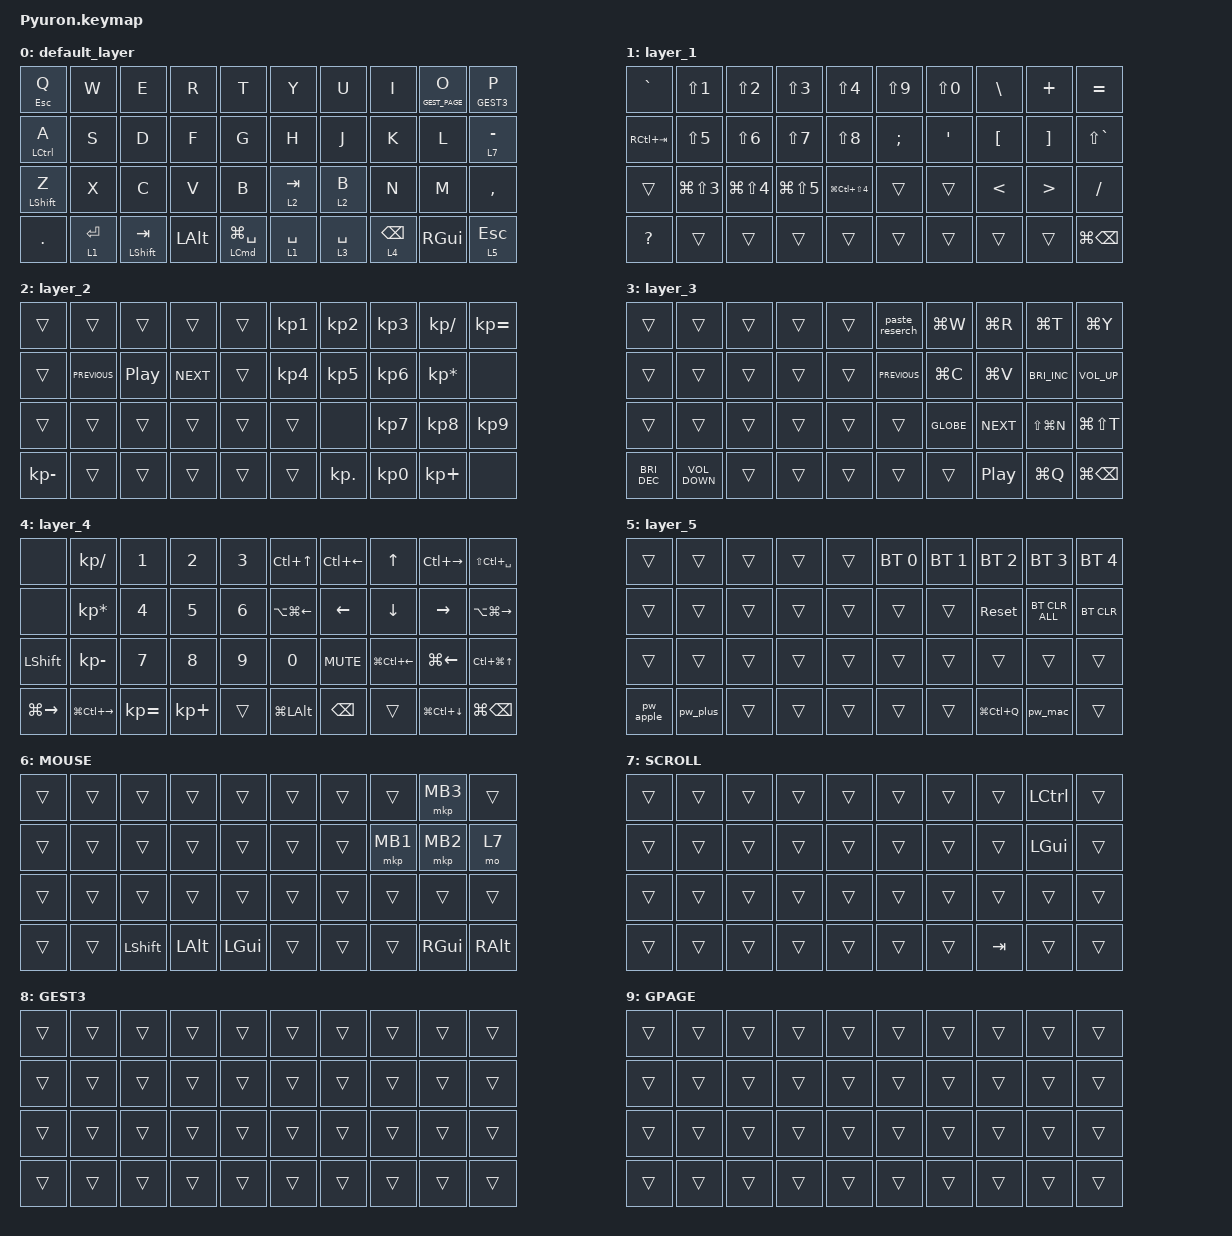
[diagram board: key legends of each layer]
#include <behaviors.dtsi>
#include <dt-bindings/zmk/bt.h>
#include <dt-bindings/zmk/keys.h>
#include <dt-bindings/zmk/pointing.h>

#define MOUSE 6
#define SCROLL 7
#define GEST3 8
#define GEST_PAGE 9

&mt {
    flavor = "balanced";
    quick-tap-ms = <0>;
};

/ {
    combos {
        compatible = "zmk,combos";

        tab {
            bindings = <&kp TAB>;
            key-positions = <9 8>;
        };

        lang1 {
            bindings = <&kp LANGUAGE_1>;
            key-positions = <17 16>;
        };

        lang2 {
            bindings = <&kp LANGUAGE_2>;
            key-positions = <12 13>;
        };
    };

    macros {
        paste_reserch: paste_reserch {
            compatible = "zmk,behavior-macro";
            #binding-cells = <0>;
            bindings =
                <&kp LG(C)>,
                <&macro_wait_time 200>,
                <&kp LG(T)>,
                <&macro_wait_time 200>,
                <&kp LG(V)>,
                <&macro_wait_time 200>,
                <&kp ENTER>,
                <&macro_press>;

            label = "PASTE_RESERCH";
        };

        // Test fixture only — placeholder macros (no real secrets).
        pw_mac: pw_mac {
            compatible = "zmk,behavior-macro";
            #binding-cells = <0>;
            bindings = <&kp C &kp H &kp A &kp N &kp G &kp E &kp M &kp E>;
            label = "PW_MAC";
        };

        pw_plus: pw_plus {
            compatible = "zmk,behavior-macro";
            #binding-cells = <0>;
            bindings = <&kp C &kp H &kp A &kp N &kp G &kp E &kp M &kp E>;
            label = "PW_PLUS";
        };

        pw_apple: pw_apple {
            compatible = "zmk,behavior-macro";
            #binding-cells = <0>;
            bindings = <&kp C &kp H &kp A &kp N &kp G &kp E &kp M &kp E>;
            label = "PW_APPLE";
        };
    };
};

/ {
    keymap {
        compatible = "zmk,keymap";

        default_layer {
            bindings = <
&mt ESC Q           &kp W        &kp E               &kp R         &kp T                       &kp Y        &kp U        &kp I            &lt GEST_PAGE O  &lt GEST3 P
&mt LEFT_CONTROL A  &kp S        &kp D               &kp F         &kp G                       &kp H        &kp J        &kp K            &kp L          &lt 7 MINUS
&mt LEFT_SHIFT Z    &kp X        &kp C               &kp V         &kp B                       &lt 2 TAB    &lt 2 B      &kp N            &kp M          &kp COMMA
&kp PERIOD          &lt 1 ENTER  &mt LEFT_SHIFT TAB  &kp LEFT_ALT  &mt LEFT_COMMAND LG(SPACE)  &lt 1 SPACE  &lt 3 SPACE  &lt 4 BACKSPACE  &kp RIGHT_GUI  &lt 5 ESCAPE
            >;
        };

        layer_1 {
            bindings = <
&kp GRAVE     &kp LS(NUMBER_1)      &kp LS(NUMBER_2)      &kp LS(NUMBER_3)  &kp LS(NUMBER_4)          &kp LS(N9)     &kp LS(N0)  &kp BACKSLASH     &kp PLUS           &kp EQUAL
&kp RC(TAB)   &kp LS(N5)            &kp LS(NUMBER_6)      &kp LS(N7)        &kp LS(N8)                &kp SEMICOLON  &kp SQT     &kp LEFT_BRACKET  &kp RIGHT_BRACKET  &kp LS(GRAVE)
&trans        &kp LG(LS(NUMBER_3))  &kp LG(LS(NUMBER_4))  &kp LG(LS(N5))    &kp LG(LC(LS(NUMBER_4)))  &trans         &trans      &kp LESS_THAN     &kp GREATER_THAN   &kp SLASH
&kp QUESTION  &trans                &trans                &trans            &trans                    &trans         &trans      &trans            &trans             &kp LG(BACKSPACE)
            >;
        };

        layer_2 {
            bindings = <
&trans        &trans          &trans            &trans      &trans  &kp KP_NUMBER_1  &kp KP_NUMBER_2  &kp KP_NUMBER_3  &kp KP_SLASH     &kp KP_EQUAL
&trans        &kp C_PREVIOUS  &kp C_PLAY_PAUSE  &kp C_NEXT  &trans  &kp KP_NUMBER_4  &kp KP_NUMBER_5  &kp KP_NUMBER_6  &kp KP_ASTERISK  &none
&trans        &trans          &trans            &trans      &trans  &trans           &none            &kp KP_NUMBER_7  &kp KP_NUMBER_8  &kp KP_NUMBER_9
&kp KP_MINUS  &trans          &trans            &trans      &trans  &trans           &kp KP_DOT       &kp KP_NUMBER_0  &kp KP_PLUS      &none
            >;
        };

        layer_3 {
            bindings = <
&trans                &trans             &trans  &trans  &trans  &paste_reserch  &kp LG(W)  &kp LG(R)   &kp LG(T)             &kp LG(Y)
&trans                &trans             &trans  &trans  &trans  &kp C_PREVIOUS  &kp LG(C)  &kp LG(V)   &kp C_BRIGHTNESS_INC  &kp C_VOLUME_UP
&trans                &trans             &trans  &trans  &trans  &trans          &kp GLOBE  &kp C_NEXT  &kp LS(LG(N))         &kp LG(LS(T))
&kp C_BRIGHTNESS_DEC  &kp C_VOLUME_DOWN  &trans  &trans  &trans  &trans          &trans     &kp C_PP    &kp LG(Q)             &kp LG(BACKSPACE)
            >;
        };

        layer_4 {
            bindings = <
&none                &kp KP_SLASH             &kp NUMBER_1  &kp NUMBER_2  &kp NUMBER_3  &kp LC(UP_ARROW)        &kp LC(LEFT)    &kp UP_ARROW            &kp LC(RIGHT)           &kp LS(LC(SPACE))
&none                &kp KP_MULTIPLY          &kp NUMBER_4  &kp N5        &kp NUMBER_6  &kp LA(LG(LEFT_ARROW))  &kp LEFT_ARROW  &kp DOWN_ARROW          &kp RIGHT_ARROW         &kp LA(LG(RIGHT_ARROW))
&kp LEFT_SHIFT       &kp KP_MINUS             &kp N7        &kp N8        &kp N9        &kp N0                  &kp K_MUTE      &kp LG(LC(LEFT_ARROW))  &kp LG(LEFT_ARROW)      &kp LC(LG(UP_ARROW))
&kp LG(RIGHT_ARROW)  &kp LG(LC(RIGHT_ARROW))  &kp KP_EQUAL  &kp KP_PLUS   &trans        &kp LG(LEFT_ALT)        &kp BACKSPACE   &trans                  &kp LG(LC(DOWN_ARROW))  &kp LG(BACKSPACE)
            >;
        };

        layer_5 {
            bindings = <
&trans     &trans    &trans  &trans  &trans  &bt BT_SEL 0  &bt BT_SEL 1  &bt BT_SEL 2   &bt BT_SEL 3    &bt BT_SEL 4
&trans     &trans    &trans  &trans  &trans  &trans        &trans        &sys_reset     &bt BT_CLR_ALL  &bt BT_CLR
&trans     &trans    &trans  &trans  &trans  &trans        &trans        &trans         &trans          &trans
&pw_apple  &pw_plus  &trans  &trans  &trans  &trans        &trans        &kp LG(LC(Q))  &pw_mac         &trans
            >;
        };

        // AutoMouse layer: auto-activated by right trackball movement
        // pos8=MB3(O), pos17=MB1(K), pos18=MB2(L), pos19=mo SCROLL(MINUS)
        // NOTE: zip_temp_layer active中の &to は固着トリガーになりやすいため置かない

        layer_6 {
            label = "MOUSE";
            bindings = <
&trans  &trans  &trans          &trans        &trans        &trans  &trans  &trans    &mkp MB3       &trans
&trans  &trans  &trans          &trans        &trans        &trans  &trans  &mkp MB1  &mkp MB2       &mo 7
&trans  &trans  &trans          &trans        &trans        &trans  &trans  &trans    &trans         &trans
&trans  &trans  &kp LEFT_SHIFT  &kp LEFT_ALT  &kp LEFT_GUI  &trans  &trans  &trans    &kp RIGHT_GUI  &kp RIGHT_ALT
            >;
        };

        // Scroll layer: right trackball becomes scroll wheel while this layer is active

        layer_7 {
            label = "SCROLL";
            bindings = <
&trans  &trans  &trans  &trans  &trans  &trans  &trans  &trans   &kp LEFT_CONTROL  &trans
&trans  &trans  &trans  &trans  &trans  &trans  &trans  &trans   &kp LEFT_GUI      &trans
&trans  &trans  &trans  &trans  &trans  &trans  &trans  &trans   &trans            &trans
&trans  &trans  &trans  &trans  &trans  &trans  &trans  &kp TAB  &trans            &trans
            >;
        };

        // Gesture layer: enabled only while P is held (default layer pos9).
        // The right trackball's input is converted to direction shortcuts by the
        // keybind input processor (see Pyuron_R.overlay). Keys stay &trans so the rest of
        // the keymap remains usable; the layer just acts as a flag for the processor.

        // GEST3 (8): 3-finger style — desktop / Mission Control
        layer_8 {
            label = "GEST3";
            bindings = <
&trans  &trans  &trans  &trans  &trans  &trans  &trans  &trans  &trans  &trans
&trans  &trans  &trans  &trans  &trans  &trans  &trans  &trans  &trans  &trans
&trans  &trans  &trans  &trans  &trans  &trans  &trans  &trans  &trans  &trans
&trans  &trans  &trans  &trans  &trans  &trans  &trans  &trans  &trans  &trans
            >;
        };

        // GEST_PAGE (9): O-hold — browser page (left/right) + tab (up/down).
        // Flag layer only; the right trackball is handled by zip_keybind_pagenav.
        layer_9 {
            label = "GPAGE";
            bindings = <
&trans  &trans  &trans  &trans  &trans  &trans  &trans  &trans  &trans  &trans
&trans  &trans  &trans  &trans  &trans  &trans  &trans  &trans  &trans  &trans
&trans  &trans  &trans  &trans  &trans  &trans  &trans  &trans  &trans  &trans
&trans  &trans  &trans  &trans  &trans  &trans  &trans  &trans  &trans  &trans
            >;
        };
    };
};
